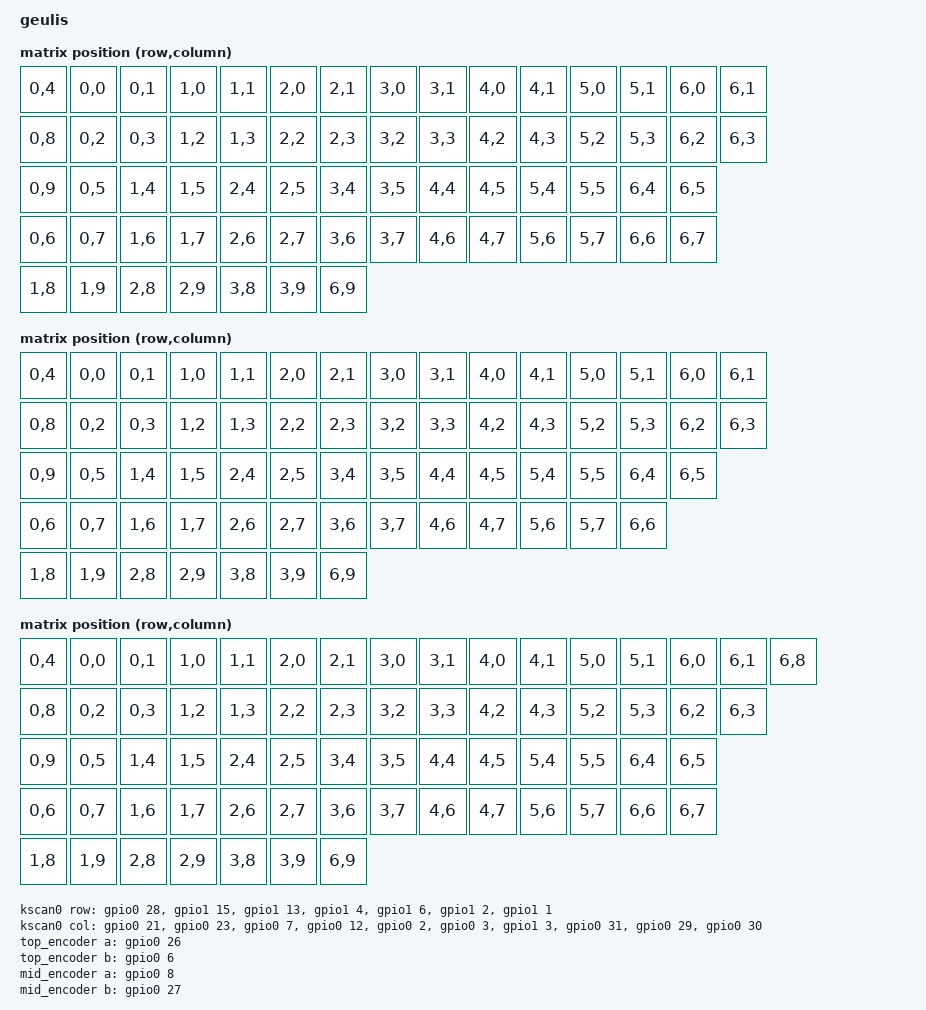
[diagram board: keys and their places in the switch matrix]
/*
 * Copyright (c) 2024 Ujang Karnadi
 *
 * SPDX-License-Identifier: MIT
 */


 /dts-v1/;
#include <nordic/nrf52840_qiaa.dtsi>

#include <dt-bindings/led/led.h>
#include <dt-bindings/zmk/matrix_transform.h>

#include "geulis-pinctrl.dtsi"
#include "geulis-layout.dtsi"

&no_split_backspace_split_shift_layout {
    kscan = <&kscan0>;
    transform = <&no_split_backspace_split_shift_transform>;
};

&no_split_backspace_one_right_shift_layout {
    kscan = <&kscan0>;
    transform = <&no_split_backspace_one_right_shift_transform>;
};

&split_backspace_split_shift_layout {
    kscan = <&kscan0>;
    transform = <&split_backspace_split_shift_transform>;
};

&split_backspace_one_right_shift_layout {
    kscan = <&kscan0>;
    transform = <&split_backspace_one_right_shift_transform>;
};

/ {
    model = "geulis";
    compatible = "karnadi,geulis";

    chosen {
        zephyr,code-partition = &code_partition;
        zephyr,sram = &sram0;
        zephyr,flash = &flash0;
        zmk,battery = &vbatt;
        zmk,underglow = &led_strip;
        zmk,kscan = &kscan0;
        zmk,physical-layout = &split_backspace_split_shift_layout; 
    };

    no_split_backspace_split_shift_transform: transform0 {
        compatible = "zmk,matrix-transform";
        columns = <10>;
        rows = <7>;

        map = <
			RC(0,4) RC(0,0) RC(0,1) RC(1,0) RC(1,1) RC(2,0) RC(2,1) RC(3,0) RC(3,1) RC(4,0) RC(4,1) RC(5,0) RC(5,1) RC(6,0) RC(6,1)
			RC(0,8) RC(0,2) RC(0,3) RC(1,2) RC(1,3) RC(2,2) RC(2,3) RC(3,2) RC(3,3) RC(4,2) RC(4,3) RC(5,2) RC(5,3) RC(6,2) RC(6,3)
			RC(0,9) RC(0,5) RC(1,4) RC(1,5) RC(2,4) RC(2,5) RC(3,4) RC(3,5) RC(4,4) RC(4,5) RC(5,4) RC(5,5) RC(6,4) RC(6,5)
			RC(0,6) RC(0,7) RC(1,6) RC(1,7) RC(2,6) RC(2,7) RC(3,6) RC(3,7) RC(4,6) RC(4,7) RC(5,6) RC(5,7) RC(6,6) RC(6,7)
			RC(1,8) RC(1,9) RC(2,8) RC(2,9) RC(3,8) RC(3,9) RC(6,9)
        >;
    };

    no_split_backspace_one_right_shift_transform: transform1 {
        compatible = "zmk,matrix-transform";
        columns = <10>;
        rows = <7>;

        map = <
			RC(0,4) RC(0,0) RC(0,1) RC(1,0) RC(1,1) RC(2,0) RC(2,1) RC(3,0) RC(3,1) RC(4,0) RC(4,1) RC(5,0) RC(5,1) RC(6,0) RC(6,1)
			RC(0,8) RC(0,2) RC(0,3) RC(1,2) RC(1,3) RC(2,2) RC(2,3) RC(3,2) RC(3,3) RC(4,2) RC(4,3) RC(5,2) RC(5,3) RC(6,2) RC(6,3)
			RC(0,9) RC(0,5) RC(1,4) RC(1,5) RC(2,4) RC(2,5) RC(3,4) RC(3,5) RC(4,4) RC(4,5) RC(5,4) RC(5,5) RC(6,4) RC(6,5)
			RC(0,6) RC(0,7) RC(1,6) RC(1,7) RC(2,6) RC(2,7) RC(3,6) RC(3,7) RC(4,6) RC(4,7) RC(5,6) RC(5,7) RC(6,6)
			RC(1,8) RC(1,9) RC(2,8) RC(2,9) RC(3,8) RC(3,9) RC(6,9)
        >;
    };

    split_backspace_split_shift_transform: transform2 {
        compatible = "zmk,matrix-transform";
        columns = <10>;
        rows = <7>;

        map = <
			RC(0,4) RC(0,0) RC(0,1) RC(1,0) RC(1,1) RC(2,0) RC(2,1) RC(3,0) RC(3,1) RC(4,0) RC(4,1) RC(5,0) RC(5,1) RC(6,0) RC(6,1) RC(6,8)
			RC(0,8) RC(0,2) RC(0,3) RC(1,2) RC(1,3) RC(2,2) RC(2,3) RC(3,2) RC(3,3) RC(4,2) RC(4,3) RC(5,2) RC(5,3) RC(6,2) RC(6,3)
			RC(0,9) RC(0,5) RC(1,4) RC(1,5) RC(2,4) RC(2,5) RC(3,4) RC(3,5) RC(4,4) RC(4,5) RC(5,4) RC(5,5) RC(6,4) RC(6,5)
			RC(0,6) RC(0,7) RC(1,6) RC(1,7) RC(2,6) RC(2,7) RC(3,6) RC(3,7) RC(4,6) RC(4,7) RC(5,6) RC(5,7) RC(6,6) RC(6,7)
			RC(1,8) RC(1,9) RC(2,8) RC(2,9) RC(3,8) RC(3,9) RC(6,9)
        >;
    };

    split_backspace_one_right_shift_transform: transform3 {
        compatible = "zmk,matrix-transform";
        columns = <10>;
        rows = <7>;

        map = <
			RC(0,4) RC(0,0) RC(0,1) RC(1,0) RC(1,1) RC(2,0) RC(2,1) RC(3,0) RC(3,1) RC(4,0) RC(4,1) RC(5,0) RC(5,1) RC(6,0) RC(6,1) RC(6,8)
			RC(0,8) RC(0,2) RC(0,3) RC(1,2) RC(1,3) RC(2,2) RC(2,3) RC(3,2) RC(3,3) RC(4,2) RC(4,3) RC(5,2) RC(5,3) RC(6,2) RC(6,3)
			RC(0,9) RC(0,5) RC(1,4) RC(1,5) RC(2,4) RC(2,5) RC(3,4) RC(3,5) RC(4,4) RC(4,5) RC(5,4) RC(5,5) RC(6,4) RC(6,5)
			RC(0,6) RC(0,7) RC(1,6) RC(1,7) RC(2,6) RC(2,7) RC(3,6) RC(3,7) RC(4,6) RC(4,7) RC(5,6) RC(5,7) RC(6,6)
			RC(1,8) RC(1,9) RC(2,8) RC(2,9) RC(3,8) RC(3,9) RC(6,9)
        >;
    };

    kscan0: kscan {
        compatible = "zmk,kscan-gpio-matrix";
        label = "KSCAN";
        diode-direction = "col2row";
        
        row-gpios
            = <&gpio0 28 (GPIO_ACTIVE_HIGH | GPIO_PULL_DOWN)>
            , <&gpio1 15 (GPIO_ACTIVE_HIGH | GPIO_PULL_DOWN)>
            , <&gpio1 13 (GPIO_ACTIVE_HIGH | GPIO_PULL_DOWN)>
            , <&gpio1 4  (GPIO_ACTIVE_HIGH | GPIO_PULL_DOWN)>
            , <&gpio1 6  (GPIO_ACTIVE_HIGH | GPIO_PULL_DOWN)>
            , <&gpio1 2  (GPIO_ACTIVE_HIGH | GPIO_PULL_DOWN)>
            , <&gpio1 1  (GPIO_ACTIVE_HIGH | GPIO_PULL_DOWN)>
            ;

        col-gpios
            = <&gpio0 21 GPIO_ACTIVE_HIGH >
            , <&gpio0 23 GPIO_ACTIVE_HIGH >
            , <&gpio0 7 GPIO_ACTIVE_HIGH >
            , <&gpio0 12 GPIO_ACTIVE_HIGH >
            , <&gpio0 2 GPIO_ACTIVE_HIGH >
            , <&gpio0 3 GPIO_ACTIVE_HIGH >
            , <&gpio1 3 GPIO_ACTIVE_HIGH >
            , <&gpio0 31 GPIO_ACTIVE_HIGH >
            , <&gpio0 29 GPIO_ACTIVE_HIGH >
            , <&gpio0 30 GPIO_ACTIVE_HIGH >
            ;
    };

    vbatt: vbatt {
        compatible = "zmk,battery-voltage-divider";
        io-channels = <&adc 2>;
        output-ohms = <2000000>;
        full-ohms = <(2000000 + 820000)>;
    };

    top_encoder: encoder_top {
        compatible = "alps,ec11";
        label = "TOP_ENCODER";
        a-gpios = <&gpio0 26 (GPIO_ACTIVE_HIGH | GPIO_PULL_UP)>;
        b-gpios = <&gpio0 6 (GPIO_ACTIVE_HIGH | GPIO_PULL_UP)>;
        resolution = <4>;
        steps = <80>;
        status = "okay";
    };

    mid_encoder: encoder_mid {
        compatible = "alps,ec11";
        label = "MID_ENCODER";
        a-gpios = <&gpio0 8 (GPIO_ACTIVE_HIGH | GPIO_PULL_UP)>;
        b-gpios = <&gpio0 27 (GPIO_ACTIVE_HIGH | GPIO_PULL_UP)>;
        resolution = <4>;
        steps = <80>;
        status = "disabled";
    };

    bot_encoder: encoder_bot {
        compatible = "alps,ec11";
        label = "BOT_ENCODER";
        a-gpios = <&gpio1 8 (GPIO_ACTIVE_HIGH | GPIO_PULL_UP)>;
        b-gpios = <&gpio0 11 (GPIO_ACTIVE_HIGH | GPIO_PULL_UP)>;
        resolution = <4>;
        steps = <80>;
        status = "disabled";
    };

    leds {
		compatible = "gpio-leds";

		blue_led: led_0 {
			gpios = <&gpio1 10 GPIO_ACTIVE_HIGH>;
			label = "Blue LED";
		};

        green_led: led_1 {
			gpios = <&gpio1 11 GPIO_ACTIVE_HIGH>;
			label = "Green LED";
		};
	};

     // Node name must match original "EXT_POWER" label to preserve user settings.
    EXT_POWER {
        compatible = "zmk,ext-power-generic";
        control-gpios = <&gpio1 9 GPIO_ACTIVE_LOW>;
        init-delay-ms = <50>;
    };

    sensors {
        compatible = "zmk,keymap-sensors";
        sensors = <&top_encoder &mid_encoder &bot_encoder>;
        triggers-per-rotation = <20>;
    };

};

&adc {
    status = "okay";
};

&gpiote {
    status = "okay";
};

&gpio0 {
    status = "okay";
};

&gpio1 {
    status = "okay";
};


&i2c0 {
    compatible = "nordic,nrf-twi";
    pinctrl-0 = <&i2c0_default>;
    pinctrl-1 = <&i2c0_sleep>;
    pinctrl-names = "default", "sleep";
};

&spi3 {
    compatible = "nordic,nrf-spim";
    pinctrl-0 = <&spi3_default>;
    pinctrl-1 = <&spi3_sleep>;
    pinctrl-names = "default", "sleep";
    status = "okay";

    led_strip: ws2812@0{
        compatible = "worldsemi,ws2812-spi";

        /* SPI */
        reg = <0>; /* ignored, but necessary for SPI bindings */
        spi-max-frequency = <4000000>;

        /* WS2812 */
        chain-length = <18>; /* LED strip length */
        spi-one-frame = <0x70>;
        spi-zero-frame = <0x40>;
        color-mapping = <LED_COLOR_ID_GREEN
                        LED_COLOR_ID_RED
                        LED_COLOR_ID_BLUE>;
    };
};

zephyr_udc0: &usbd {
    status = "okay";
};




&flash0 {
    /*
     * For more information, see:
     * http://docs.zephyrproject.org/latest/devices/dts/flash_partitions.html
     */
    partitions {
        compatible = "fixed-partitions";
		#address-cells = <1>;
		#size-cells = <1>;

		sd_partition: partition@0 {
			label = "mbr";
			reg = <0x00000000 0x00001000>;
		};

		code_partition: partition@1000 {
			label = "code_partition";
			reg = <0x00001000 0x000d3000>;
		};

		storage_partition: partition@d4000 {
			label = "storage";
			reg = <0x000d4000 0x00020000>;
		};

		boot_partition: partition@f4000 {
			label = "adafruit_boot";
			reg = <0x000f4000 0x0000c000>;
		};
    };
};
